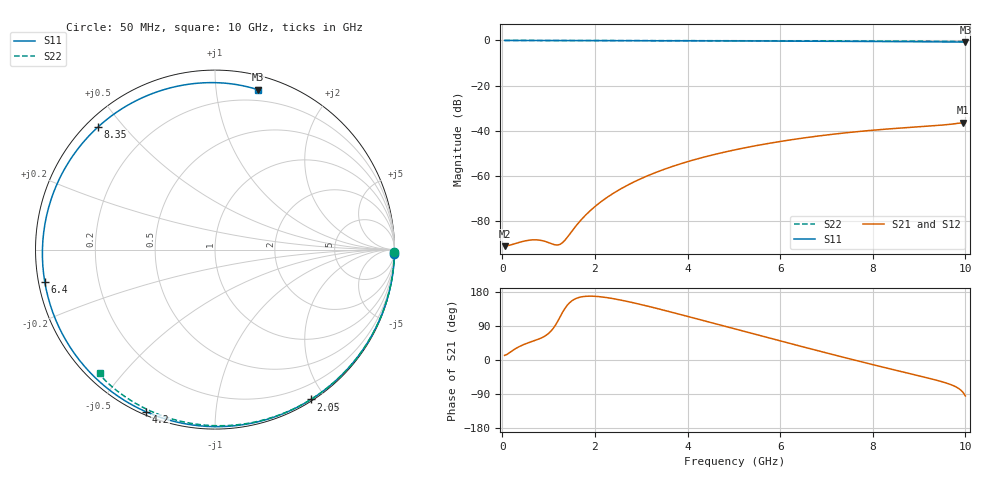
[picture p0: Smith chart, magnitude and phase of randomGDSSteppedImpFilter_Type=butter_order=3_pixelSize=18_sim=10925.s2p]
! freq	dB(S11)	phase(S11)	dB(S12)	phase(S12)
!  dB(S21)	phase(S21)	dB(S22)	phase(S22)
!S-par simulation data
#  GHz  S  DB  R 50
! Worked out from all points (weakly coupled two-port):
!   200 points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, 50 MHz to 10 GHz, reference 50 ohm
!   highest |S21| = -36.47 dB at 9.95 GHz (marker M1); lowest = -91.2 dB at 50 MHz (marker M2)
!   lowest |S11| = -0.7 dB at 10 GHz (marker M3), VSWR 24.83, Z = 5.41 + j64.8 ohm
!   |S11| at or under -10 dB: nowhere
!   |S22| runs from -0.5 to 0.0 dB; largest |S21 - S12| = 0
!   S11 on the Smith chart (normalised r, x): 50 MHz: 0, -80; 2.05 GHz: 0.02, -1.83; 4.2 GHz: 0.01, -0.66; 6.4 GHz: 0.02, -0.09; 8.35 GHz: 0.03, +0.43; 10 GHz: 0.11, +1.30
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0.05  -0.00 -1.4  -91.22 12.2  -91.22 12.2  -0.00 -0.8
0.85  -0.03 -24.2  -88.72 58.6  -88.72 58.6  -0.02 -12.9
1.65  -0.06 -46.5  -80.78 164.9  -80.78 164.9  -0.03 -24.8
1.75  -0.06 -49.2  -78.49 167.4  -78.49 167.4  -0.03 -26.3
2.05  -0.07 -57.3  -72.82 167.6  -72.82 167.6  -0.04 -30.7
2.35  -0.08 -65.4  -68.40 162.8  -68.40 162.8  -0.04 -35.0
2.65  -0.09 -73.4  -64.77 155.8  -64.77 155.8  -0.05 -39.4
3.4  -0.12 -92.9  -57.86 134.2  -57.86 134.2  -0.07 -50.0
4.2  -0.16 -113.2  -52.58 108.7  -52.58 108.7  -0.09 -61.0
5.05  -0.21 -134.5  -48.39 81.1  -48.39 81.1  -0.11 -72.4
5.75  -0.25 -152.3  -45.65 58.5  -45.65 58.5  -0.14 -81.4
6.4  -0.31 -169.3  -43.55 37.6  -43.55 37.6  -0.16 -89.6
6.7  -0.33 -177.4  -42.70 28.1  -42.70 28.1  -0.18 -93.3
7.15  -0.38 170.1  -41.56 13.9  -41.56 13.9  -0.20 -98.8
7.55  -0.42 158.5  -40.67 1.5  -40.67 1.5  -0.23 -103.6
7.95  -0.46 146.4  -39.90 -10.8  -39.90 -10.8  -0.26 -108.3
8.35  -0.50 133.7  -39.22 -22.7  -39.22 -22.7  -0.29 -113.0
8.8  -0.55 118.7  -38.55 -36.0  -38.55 -36.0  -0.32 -118.2
9.2  -0.59 104.7  -37.98 -47.8  -37.98 -47.8  -0.36 -122.9
9.6  -0.63 90.1  -37.33 -61.3  -37.33 -61.3  -0.40 -127.6
9.95  -0.69 76.9  -36.47 -85.6  -36.47 -85.6  -0.49 -132.3
10  -0.70 75.1  -36.52 -94.8  -36.52 -94.8  -0.54 -133.1
